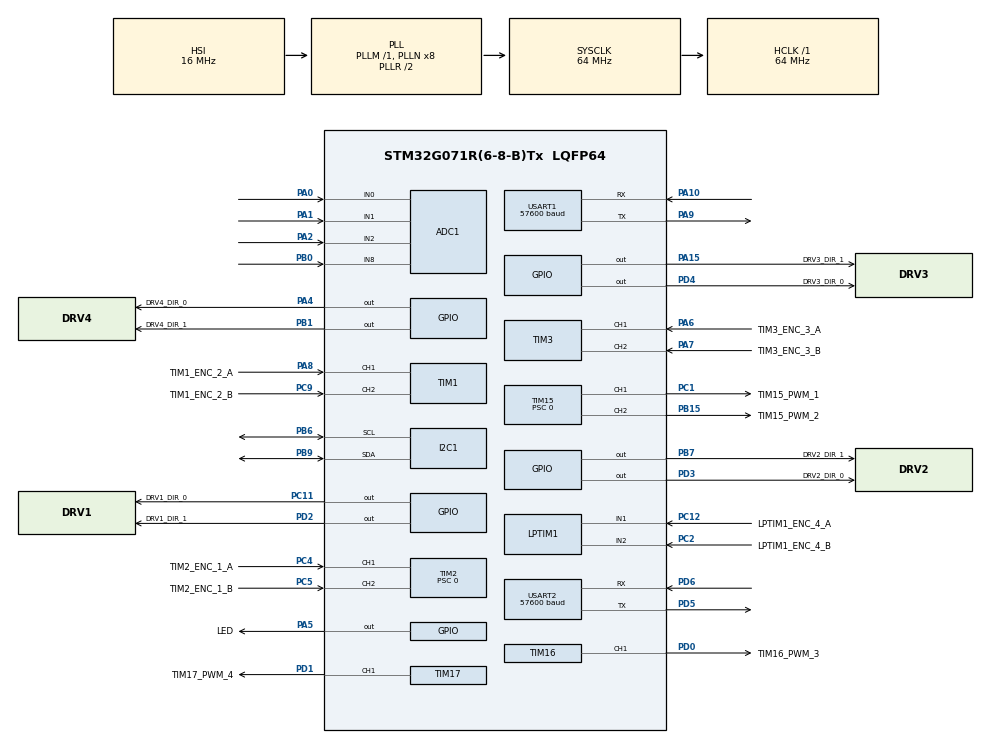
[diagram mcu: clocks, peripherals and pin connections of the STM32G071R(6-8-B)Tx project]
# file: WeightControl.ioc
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ADC1.Channel-0\#ChannelRegularConversion=ADC_CHANNEL_0
ADC1.Channel-1\#ChannelRegularConversion=ADC_CHANNEL_1
ADC1.Channel-2\#ChannelRegularConversion=ADC_CHANNEL_2
ADC1.Channel-3\#ChannelRegularConversion=ADC_CHANNEL_8
ADC1.DMAContinuousRequests=ENABLE
ADC1.ExternalTrigConv=ADC_EXTERNALTRIG_T6_TRGO
ADC1.NbrOfConversion=4
ADC1.NbrOfConversionFlag=1
ADC1.OversamplingMode=DISABLE
ADC1.Rank-0\#ChannelRegularConversion=1
ADC1.Rank-1\#ChannelRegularConversion=2
ADC1.Rank-2\#ChannelRegularConversion=3
ADC1.Rank-3\#ChannelRegularConversion=4
ADC1.SamplingTime-0\#ChannelRegularConversion=ADC_SAMPLINGTIME_COMMON_1
ADC1.SamplingTime-1\#ChannelRegularConversion=ADC_SAMPLINGTIME_COMMON_1
ADC1.SamplingTime-2\#ChannelRegularConversion=ADC_SAMPLINGTIME_COMMON_1
ADC1.SamplingTime-3\#ChannelRegularConversion=ADC_SAMPLINGTIME_COMMON_1
ADC1.SamplingTimeCommon1=ADC_SAMPLETIME_12CYCLES_5
ADC1.SamplingTimeCommon2=ADC_SAMPLETIME_12CYCLES_5
ADC1.SelectedChannel=ADC_CHANNEL_0|ADC_CHANNEL_1|ADC_CHANNEL_2|ADC_CHANNEL_8
ADC1.master=1
Dma.ADC1.0.Direction=DMA_PERIPH_TO_MEMORY
Dma.ADC1.0.EventEnable=DISABLE
Dma.ADC1.0.Instance=DMA1_Channel1
Dma.ADC1.0.MemDataAlignment=DMA_MDATAALIGN_HALFWORD
Dma.ADC1.0.MemInc=DMA_MINC_ENABLE
Dma.ADC1.0.Mode=DMA_CIRCULAR
Dma.ADC1.0.PeriphDataAlignment=DMA_PDATAALIGN_HALFWORD
Dma.ADC1.0.PeriphInc=DMA_PINC_DISABLE
Dma.ADC1.0.Polarity=HAL_DMAMUX_REQ_GEN_RISING
Dma.ADC1.0.Priority=DMA_PRIORITY_LOW
Dma.ADC1.0.RequestNumber=1
Dma.ADC1.0.SignalID=NONE
Dma.ADC1.0.SyncEnable=DISABLE
Dma.ADC1.0.SyncPolarity=HAL_DMAMUX_SYNC_NO_EVENT
Dma.ADC1.0.SyncRequestNumber=1
Dma.ADC1.0.SyncSignalID=NONE
Dma.Request0=ADC1
I2C1.Timing=0x10707DBC
LPTIM1.ULPClockPolarity=LPTIM_CLOCKPOLARITY_RISING_FALLING
LPTIM1.ULPClockSampleTime=LPTIM_CLOCKSAMPLETIME_DIRECTTRANSITION
LPTIM1.UpdateMode=LPTIM_UPDATE_IMMEDIATE
Mcu.Family=STM32G0
Mcu.Name=STM32G071R(6-8-B)Tx
Mcu.Package=LQFP64
NVIC.DMA1_Channel1_IRQn=true\:0\:0\:false\:false\:true\:false\:true\:true
NVIC.TIM14_IRQn=true\:0\:0\:false\:false\:true\:true\:true\:true
NVIC.TIM6_DAC_LPTIM1_IRQn=true\:0\:0\:false\:false\:true\:true\:true\:true
NVIC.USART1_IRQn=true\:0\:0\:false\:false\:true\:true\:true\:true
PA0.Mode=IN0
PA0.Signal=ADC1_IN0
PA1.Mode=IN1
PA1.Signal=ADC1_IN1
PA10.Mode=Asynchronous
PA10.Signal=USART1_RX
PA13.Mode=Serial_Wire
PA13.Signal=SYS_SWDIO
PA14-BOOT0.Mode=Serial_Wire
PA14-BOOT0.Signal=SYS_SWCLK
PA15.GPIO_Label=DRV3_DIR_1
PA15.GPIO_PuPd=GPIO_PULLDOWN
PA15.Signal=GPIO_Output
PA2.Mode=IN2
PA2.Signal=ADC1_IN2
PA4.GPIO_Label=DRV4_DIR_0
PA4.GPIO_PuPd=GPIO_PULLDOWN
PA4.Signal=GPIO_Output
PA5.GPIO_Label=LED
PA5.Signal=GPIO_Output
PA6.GPIO_Label=TIM3_ENC_3_A
PA6.Signal=S_TIM3_CH1
PA7.GPIO_Label=TIM3_ENC_3_B
PA7.Signal=S_TIM3_CH2
PA8.GPIO_Label=TIM1_ENC_2_A
PA8.Signal=S_TIM1_CH1
PA9.Mode=Asynchronous
PA9.Signal=USART1_TX
PB0.Mode=IN8
PB0.Signal=ADC1_IN8
PB1.GPIO_Label=DRV4_DIR_1
PB1.GPIO_PuPd=GPIO_PULLDOWN
PB1.Signal=GPIO_Output
PB15.GPIO_Label=TIM15_PWM_2
PB15.Signal=S_TIM15_CH2
PB6.Mode=I2C
PB6.Signal=I2C1_SCL
PB7.GPIO_Label=DRV2_DIR_1
PB7.GPIO_PuPd=GPIO_PULLDOWN
PB7.Signal=GPIO_Output
PB9.Mode=I2C
PB9.Signal=I2C1_SDA
PC1.GPIO_Label=TIM15_PWM_1
PC1.Signal=S_TIM15_CH1
PC11.GPIO_Label=DRV1_DIR_0
PC11.GPIO_PuPd=GPIO_PULLDOWN
PC11.Signal=GPIO_Output
PC12.GPIO_Label=LPTIM1_ENC_4_A
PC12.Mode=Encoder_mode_occur1
PC12.Signal=LPTIM1_IN1
PC2.GPIO_Label=LPTIM1_ENC_4_B
PC2.Mode=Encoder_mode_occur1
PC2.Signal=LPTIM1_IN2
PC4.GPIO_Label=TIM2_ENC_1_A
PC4.Signal=S_TIM2_CH1
PC5.GPIO_Label=TIM2_ENC_1_B
PC5.Signal=S_TIM2_CH2
PC9.GPIO_Label=TIM1_ENC_2_B
PC9.Signal=S_TIM1_CH2
PD0.GPIO_Label=TIM16_PWM_3
PD0.Signal=S_TIM16_CH1
PD1.GPIO_Label=TIM17_PWM_4
PD1.Signal=S_TIM17_CH1
PD2.GPIO_Label=DRV1_DIR_1
PD2.GPIO_PuPd=GPIO_PULLDOWN
PD2.Signal=GPIO_Output
PD3.GPIO_Label=DRV2_DIR_0
PD3.GPIO_PuPd=GPIO_PULLDOWN
PD3.Signal=GPIO_Output
PD4.GPIO_Label=DRV3_DIR_0
PD4.GPIO_PuPd=GPIO_PULLDOWN
PD4.Signal=GPIO_Output
PD5.Mode=Asynchronous
PD5.Signal=USART2_TX
PD6.Mode=Asynchronous
PD6.Signal=USART2_RX
ProjectManager.HeapSize=0x200
ProjectManager.StackSize=0x400
ProjectManager.TargetToolchain=Makefile
RCC.ADCFreq_Value=64000000
RCC.AHBFreq_Value=64000000
RCC.CortexFreq_Value=64000000
RCC.EXTERNAL_CLOCK_VALUE=48000
RCC.HCLKFreq_Value=64000000
RCC.HSE_VALUE=8000000
RCC.HSI_VALUE=16000000
RCC.LSE_VALUE=32768
RCC.SYSCLKFreq_VALUE=64000000
RCC.SYSCLKSource=RCC_SYSCLKSOURCE_PLLCLK
RCC.VCOOutputFreq_Value=128000000
SH.S_TIM15_CH1.0=TIM15_CH1,PWM Generation1 CH1
SH.S_TIM15_CH2.0=TIM15_CH2,PWM Generation2 CH2
SH.S_TIM16_CH1.0=TIM16_CH1,PWM Generation1 CH1
SH.S_TIM17_CH1.0=TIM17_CH1,PWM Generation1 CH1
SH.S_TIM1_CH1.0=TIM1_CH1,Encoder_Interface
SH.S_TIM1_CH2.0=TIM1_CH2,Encoder_Interface
SH.S_TIM2_CH1.0=TIM2_CH1,Encoder_Interface
SH.S_TIM2_CH2.0=TIM2_CH2,Encoder_Interface
SH.S_TIM3_CH1.0=TIM3_CH1,Encoder_Interface
SH.S_TIM3_CH2.0=TIM3_CH2,Encoder_Interface
TIM1.EncoderMode=TIM_ENCODERMODE_TI12
TIM14.Period=10000
TIM14.Prescaler=64
TIM15.Channel-PWM\ Generation1\ CH1=TIM_CHANNEL_1
TIM15.Channel-PWM\ Generation2\ CH2=TIM_CHANNEL_2
TIM15.Period=64000
TIM15.Prescaler=0
TIM15.Pulse-PWM\ Generation1\ CH1=16000
TIM15.Pulse-PWM\ Generation2\ CH2=0
TIM16.Channel=TIM_CHANNEL_1
TIM16.Period=64000
TIM16.Prescaler=0
TIM16.Pulse=0
TIM17.Channel=TIM_CHANNEL_1
TIM17.Period=64000
TIM17.Prescaler=0
TIM17.Pulse=0
TIM2.EncoderMode=TIM_ENCODERMODE_TI12
TIM2.Period=4294967295
TIM2.Prescaler=0
TIM3.EncoderMode=TIM_ENCODERMODE_TI12
TIM6.Period=10000
TIM6.Prescaler=64
TIM6.TIM_MasterOutputTrigger=TIM_TRGO_UPDATE
TIM7.Period=40000
TIM7.Prescaler=6400
USART1.BaudRate=57600
USART1.VirtualMode-Asynchronous=VM_ASYNC
USART2.BaudRate=57600
USART2.VirtualMode-Asynchronous=VM_ASYNC
VP_CRC_VS_CRC.Mode=CRC_Activate
VP_SYS_VS_DBSignals.Mode=DisableDeadBatterySignals
VP_TIM14_VS_ClockSourceINT.Mode=Enable_Timer
VP_TIM16_VS_ClockSourceINT.Mode=Enable_Timer
VP_TIM17_VS_ClockSourceINT.Mode=Enable_Timer
VP_TIM6_VS_ClockSourceINT.Mode=Enable_Timer
VP_TIM7_VS_ClockSourceINT.Mode=Enable_Timer
board=custom

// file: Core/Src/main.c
/* USER CODE BEGIN Header */
/**
  ******************************************************************************
  * @file           : main.c
  * @brief          : Main program body
  ******************************************************************************
  * @attention
  *
  * <h2><center>&copy; Copyright (c) 2022 STMicroelectronics.
  * All rights reserved.</center></h2>
  *
  * This software component is licensed by ST under BSD 3-Clause license,
  * the "License"; You may not use this file except in compliance with the
  * License. You may obtain a copy of the License at:
  *                        opensource.org/licenses/BSD-3-Clause
  *
  ******************************************************************************
  */
/* USER CODE END Header */
#include "main.h"
#include "adc.h"
#include "crc.h"
#include "dma.h"
#include "i2c.h"
#include "lptim.h"
#include "tim.h"
#include "usart.h"
#include "gpio.h"

/* USER CODE BEGIN Includes */
#include <stdint.h>

#include "debug.h"
#include "protocol.h"
#include "pid.h"
#include "global_config.h"
#include "memory.h"
// #include "24C02C.h"
#include "stm32g0xx_hal.h"
/* USER CODE END Includes */

/* USER CODE BEGIN PV */
uint8_t PID_ComputeFlag = 0;

void HAL_TIM_PeriodElapsedCallback(TIM_HandleTypeDef * tim){
  if (tim == &CONTROL_SYSTEM_TIMER){
    PID_ComputeFlag = 1;
  }
}
/* USER CODE END PV */

void SystemClock_Config(void);

/* USER CODE BEGIN 0 */
extern uint16_t current[4];
/* USER CODE END 0 */

int main(void)
{
  /* USER CODE BEGIN 1 */
  __set_PRIMASK(1);
  SCB->VTOR = 0x08004000;
  __set_PRIMASK(0);
  __enable_irq();
  /* USER CODE END 1 */

  /* MCU Configuration--------------------------------------------------------*/

  /* Reset of all peripherals, Initializes the Flash interface and the Systick. */
  HAL_Init();

  /* Configure the system clock */
  SystemClock_Config();

  /* Initialize all configured peripherals */
  MX_GPIO_Init();
  MX_DMA_Init();
  MX_ADC1_Init();
  MX_TIM2_Init();
  MX_USART1_UART_Init();
  MX_TIM6_Init();
  MX_TIM3_Init();
  MX_TIM16_Init();
  MX_TIM17_Init();
  MX_TIM14_Init();
  MX_LPTIM1_Init();
  MX_TIM1_Init();
  MX_TIM15_Init();
  MX_CRC_Init();
  MX_TIM7_Init();
  MX_USART2_UART_Init();
  MX_I2C1_Init();
  /* USER CODE BEGIN 2 */

  uint32_t position[4] = { 0x7FFFFFFF, 0x7FFF, 0x7FFF, 0x3FFFFFFF };
  HAL_StatusTypeDef state;
  state = MEMORY_CheckMemoryName(10);
  if (state != HAL_OK){
    print_wr("EEPROM Partition name is not good STATE: 0x%X\r\n", state);
    state = MEMORY_PreparePartition(10);
    if (state != HAL_OK){
      print_er("EEPROM Partition name setting failed STATE: 0x%X\r\n", state);
    }
    else{
      print_in("EEPROM Partition name set\r\n");
      state = MEMORY_SetActualPosition(position[0], position[1], position[2], position[3], 10);
      if (state != HAL_OK){
        print_er("EEPROM Failed to set initial positions STATE: 0x%X\r\n", state);
      }
      else{
        print_in("EEPROM Succeeded to set initial positions\r\n");
      }
    }
  }
  else{
    print_in("EEPROM Partition name is ok\r\n");
    state = MEMORY_GetActualPosition(position, 10);
    if (state != HAL_OK){
      print_er("EEPROM Failed to receive actual position STATE: 0x%X\r\n", state);
    }
    else{
      // print_in("EEPROM Succeeded to receive actual positions\r\n");
      print_in("EEPROM Positions: 0x%X 0x%X 0x%X 0x%X\r\n", position[0], position[1], position[2], position[3], 10);
    }
  }

  // HAL_NVIC_SystemReset();

  HAL_GPIO_WritePin(DRV1_DIR_0_GPIO_Port, DRV1_DIR_0_Pin, 0);
  HAL_GPIO_WritePin(DRV1_DIR_1_GPIO_Port, DRV1_DIR_1_Pin, 0);
  HAL_GPIO_WritePin(DRV2_DIR_0_GPIO_Port, DRV2_DIR_0_Pin, 0);
  HAL_GPIO_WritePin(DRV2_DIR_1_GPIO_Port, DRV2_DIR_1_Pin, 0);
  HAL_GPIO_WritePin(DRV3_DIR_0_GPIO_Port, DRV3_DIR_0_Pin, 0);
  HAL_GPIO_WritePin(DRV3_DIR_1_GPIO_Port, DRV3_DIR_1_Pin, 0);
  HAL_GPIO_WritePin(DRV4_DIR_0_GPIO_Port, DRV4_DIR_0_Pin, 0);
  HAL_GPIO_WritePin(DRV4_DIR_1_GPIO_Port, DRV4_DIR_1_Pin, 0);

  HAL_TIM_PWM_Start(&PWM_1_TIMER, PWM_1_CHANNEL);
  PWM_1_DUTY = 0;
  HAL_TIM_PWM_Start(&PWM_2_TIMER, PWM_2_CHANNEL);
  PWM_2_DUTY = 0;
  HAL_TIM_PWM_Start(&PWM_3_TIMER, PWM_3_CHANNEL);
  PWM_3_DUTY = 0;
  HAL_TIM_PWM_Start(&PWM_4_TIMER, PWM_4_CHANNEL);
  PWM_4_DUTY = 0;

  HAL_ADCEx_Calibration_Start(&hadc1);
  HAL_ADC_Start_DMA(&hadc1, current, 4);
  HAL_TIM_Base_Start(&htim6);

  HAL_TIM_Encoder_Start(&ENCODER_1_TIMER, TIM_CHANNEL_ALL);
  ENCODER_1_COUNT = position[0];
  HAL_TIM_Encoder_Start(&ENCODER_2_TIMER, TIM_CHANNEL_ALL);
  ENCODER_2_COUNT = position[1];
  HAL_TIM_Encoder_Start(&ENCODER_3_TIMER, TIM_CHANNEL_ALL);
  ENCODER_3_COUNT = position[2];
  PID_SetNewCorrector(position[3]);
  HAL_LPTIM_Encoder_Start(&ENCODER_4_TIMER, 65535);
  HAL_LPTIM_Counter_Start_IT(&ENCODER_4_TIMER, LPTIM1->ARR);

  PID_MoveSetpoints();

  HAL_TIM_Base_Start_IT(&CONTROL_SYSTEM_TIMER);

  PROTOCOL_Start();

  // print_in("APP1 Program Started\r\n");
  // HAL_UART_Transmit(&huart2, "APP1 Program Started\r\n", 22, 10);

  /* USER CODE END 2 */

  /* Infinite loop */
  /* USER CODE BEGIN WHILE */
  uint32_t position_data[4];
  uint32_t old_position_data[4];
  uint32_t ticks_to_position_save = HAL_GetTick();
  uint32_t pid_time;

  uint32_t temp = HAL_GetTick();
  uint8_t it_started = 0;
  while (1) {
    // if ((it_started == 0) && ((HAL_GetTick() - temp) > 1000)){
      // it_started = 1;
    // }
    if (PID_ComputeFlag){
      pid_time = HAL_GetTick();
      PID_DriveCompute(3);
      PID_DriveCompute(2);
      PID_DriveCompute(1);
      PID_DriveCompute(0);
      pid_time = HAL_GetTick() - pid_time;
      PID_ComputeFlag = 0;
    }

    if (PROTOCOL_MessagePending()){
      PROTOCOL_ProcessFrame();
      PROTOCOL_ResetPendingFlag();
    }

    if ((HAL_GetTick() - ticks_to_position_save) > 3000){
      MEMORY_SetActualPosition(ENCODER_1_COUNT, ENCODER_2_COUNT, ENCODER_3_COUNT, PID_GetCorrector() + ENCODER_4_COUNT, 10);
      ticks_to_position_save = HAL_GetTick();
      print_in("Corrector 0x%X PID 0x%X INT 0x%X ENC 0x%X\r\n", PID_GetCorrector(), pid_time, GetIntCount(), GetMot4Count());
    }
    /* USER CODE END WHILE */

  }
}

void SystemClock_Config(void)
{
  RCC_OscInitTypeDef RCC_OscInitStruct = {0};
  RCC_ClkInitTypeDef RCC_ClkInitStruct = {0};
  RCC_PeriphCLKInitTypeDef PeriphClkInit = {0};

  /** Configure the main internal regulator output voltage
  */
  HAL_PWREx_ControlVoltageScaling(PWR_REGULATOR_VOLTAGE_SCALE1);
  /** Initializes the RCC Oscillators according to the specified parameters
  * in the RCC_OscInitTypeDef structure.
  */
  RCC_OscInitStruct.OscillatorType = RCC_OSCILLATORTYPE_HSI;
  RCC_OscInitStruct.HSIState = RCC_HSI_ON;
  RCC_OscInitStruct.HSIDiv = RCC_HSI_DIV1;
  RCC_OscInitStruct.HSICalibrationValue = RCC_HSICALIBRATION_DEFAULT;
  RCC_OscInitStruct.PLL.PLLState = RCC_PLL_ON;
  RCC_OscInitStruct.PLL.PLLSource = RCC_PLLSOURCE_HSI;
  RCC_OscInitStruct.PLL.PLLM = RCC_PLLM_DIV1;
  RCC_OscInitStruct.PLL.PLLN = 8;
  RCC_OscInitStruct.PLL.PLLP = RCC_PLLP_DIV2;
  RCC_OscInitStruct.PLL.PLLQ = RCC_PLLQ_DIV2;
  RCC_OscInitStruct.PLL.PLLR = RCC_PLLR_DIV2;
  if (HAL_RCC_OscConfig(&RCC_OscInitStruct) != HAL_OK)
  {
    Error_Handler();
  }
  /** Initializes the CPU, AHB and APB buses clocks
  */
  RCC_ClkInitStruct.ClockType = RCC_CLOCKTYPE_HCLK|RCC_CLOCKTYPE_SYSCLK
                              |RCC_CLOCKTYPE_PCLK1;
  RCC_ClkInitStruct.SYSCLKSource = RCC_SYSCLKSOURCE_PLLCLK;
  RCC_ClkInitStruct.AHBCLKDivider = RCC_SYSCLK_DIV1;
  RCC_ClkInitStruct.APB1CLKDivider = RCC_HCLK_DIV1;

  if (HAL_RCC_ClockConfig(&RCC_ClkInitStruct, FLASH_LATENCY_2) != HAL_OK)
  {
    Error_Handler();
  }
  /** Initializes the peripherals clocks
  */
  PeriphClkInit.PeriphClockSelection = RCC_PERIPHCLK_USART1|RCC_PERIPHCLK_USART2
                              |RCC_PERIPHCLK_LPTIM1|RCC_PERIPHCLK_I2C1
                              |RCC_PERIPHCLK_ADC|RCC_PERIPHCLK_TIM15
                              |RCC_PERIPHCLK_TIM1;
  PeriphClkInit.Usart1ClockSelection = RCC_USART1CLKSOURCE_PCLK1;
  PeriphClkInit.Usart2ClockSelection = RCC_USART2CLKSOURCE_PCLK1;
  PeriphClkInit.I2c1ClockSelection = RCC_I2C1CLKSOURCE_PCLK1;
  PeriphClkInit.Lptim1ClockSelection = RCC_LPTIM1CLKSOURCE_PCLK1;
  PeriphClkInit.AdcClockSelection = RCC_ADCCLKSOURCE_SYSCLK;
  PeriphClkInit.Tim1ClockSelection = RCC_TIM1CLKSOURCE_PCLK1;
  PeriphClkInit.Tim15ClockSelection = RCC_TIM15CLKSOURCE_PCLK1;
  if (HAL_RCCEx_PeriphCLKConfig(&PeriphClkInit) != HAL_OK)
  {
    Error_Handler();
  }
}

void Error_Handler(void)
{
  __disable_irq();
  while (1)
  {
  }
}

/************************ (C) COPYRIGHT STMicroelectronics *****END OF FILE****/
